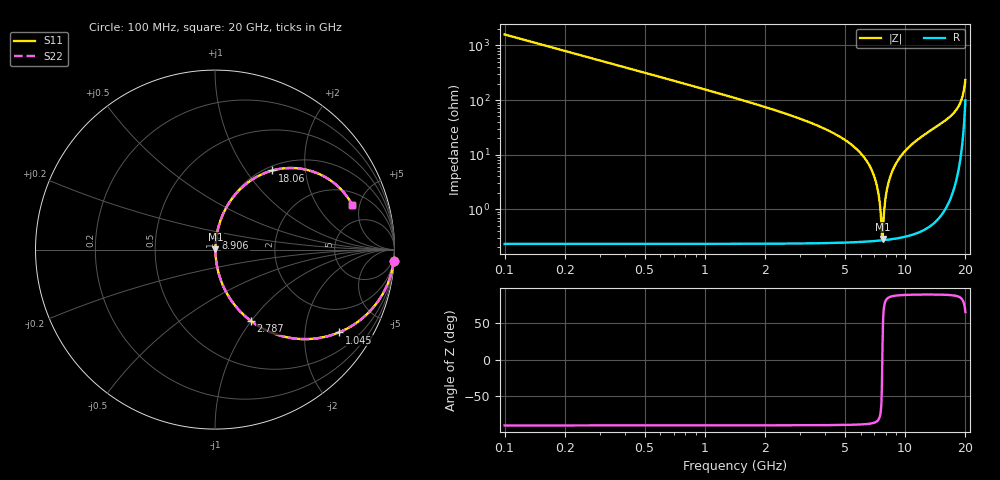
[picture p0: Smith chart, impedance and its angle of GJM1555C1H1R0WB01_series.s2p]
!Murata Part Number: GJM1555C1H1R0WB01
!These Parameters are Measured in Series Mode Connection
!  o--ll--o
!Port1  Port2
!  o------o
!Operation Temp=25[degC], DC Bias Voltage=0[V]
!Freq. Start=100[MHz] Stop=20[GHz], 401[Steps]
!Data Generated on Jan 10, 2017
# Hz S RI R 50
!Freq.(Hz) S11(Real) S11(Imag) S21(Real) S21(Imag) S12(Real) S12(Imag) S22(Real) S22(Imag)
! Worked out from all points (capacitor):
!   401 points, 100 MHz to 20 GHz, reference 50 ohm
!   read as one part in series: C = 1 pF near 199.5 MHz
!   lowest |Z| = 283 mohm at 7.712 GHz (marker M1)
!   series resonance near 7.696 GHz, so ESL is about 430 pH
!   S11 on the Smith chart (normalised r, x): 100 MHz: 1, -32; 1.045 GHz: 1.00, -2.99; 2.787 GHz: 1.00, -1.00; 8.906 GHz: 1.01, +0.13; 18.06 GHz: 1.07, +1.34; 20 GHz: 2.97, +4.22
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1e8  0.9961 -0.0626  0.00394 0.0626  0.00394 0.0626  0.9961 -0.0626
2.99e8  0.9657 -0.1817  0.0343 0.1817  0.0343 0.1817  0.9657 -0.1817
4.4825e8  0.9259 -0.2616  0.0741 0.2616  0.0741 0.2616  0.9259 -0.2616
1.04525e9  0.6907 -0.4614  0.3093 0.4614  0.3093 0.4614  0.6907 -0.4614
1.891e9  0.3859 -0.4853  0.6141 0.4853  0.6141 0.4853  0.3859 -0.4853
2.7865e9  0.1999 -0.3976  0.8001 0.3976  0.8001 0.3976  0.1999 -0.3976
3.43325e9  0.1239 -0.3263  0.8761 0.3263  0.8761 0.3263  0.1239 -0.3263
5.5725e9  0.021 -0.1347  0.979 0.1347  0.979 0.1347  0.021 -0.1347
6.7665e9  0.00552 -0.0542  0.9945 0.0542  0.9945 0.0542  0.00552 -0.0542
7.31375e9  0.00309 -0.0215  0.9969 0.0215  0.9969 0.0215  0.00309 -0.0215
7.463e9  0.00281 -0.013  0.9972 0.013  0.9972 0.013  0.00281 -0.013
7.61225e9  0.00268 -0.00462  0.9973 0.00462  0.9973 0.00462  0.00268 -0.00462
7.71175e9  0.00268 0.000888  0.9973 -0.000888  0.9973 -0.000888  0.00268 0.000888
7.9605e9  0.00292 0.0144  0.9971 -0.0144  0.9971 -0.0144  0.00292 0.0144
8.1595e9  0.00336 0.025  0.9966 -0.025  0.9966 -0.025  0.00336 0.025
8.90575e9  0.00683 0.0627  0.9932 -0.0627  0.9932 -0.0627  0.00683 0.0627
1.005e10  0.0169 0.1162  0.9831 -0.1162  0.9831 -0.1162  0.0169 0.1162
1.338325e10  0.0744 0.2537  0.9256 -0.2537  0.9256 -0.2537  0.0744 0.2537
1.67165e10  0.2019 0.387  0.7981 -0.387  0.7981 -0.387  0.2019 0.387
1.805975e10  0.3192 0.4407  0.6808 -0.4407  0.6808 -0.4407  0.3192 0.4407
1.925375e10  0.5415 0.436  0.4585 -0.436  0.4585 -0.436  0.5415 0.436
2e10  0.7633 0.2513  0.2367 -0.2513  0.2367 -0.2513  0.7633 0.2513
